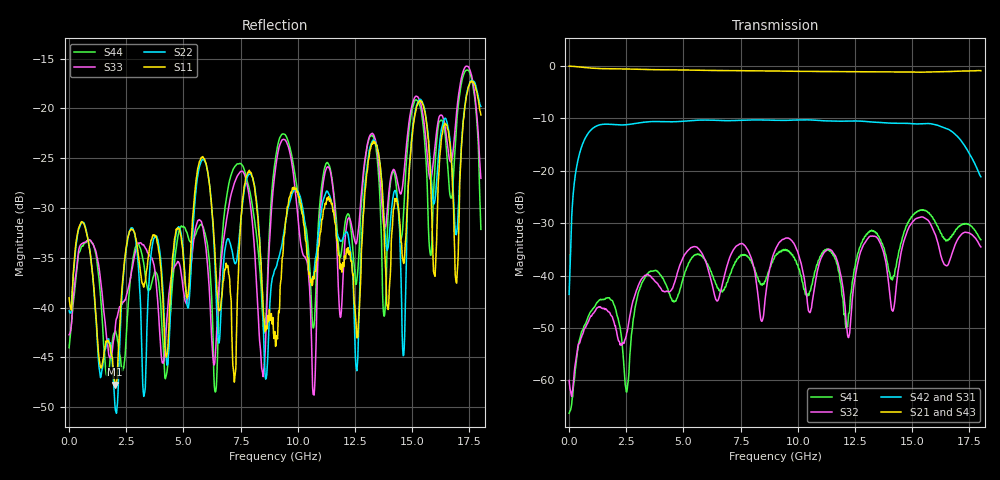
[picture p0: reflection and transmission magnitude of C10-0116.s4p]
! MARKI MICROWAVE INC.
! Email:  info@markimicrowave.com  Phone:  408-778-4200
! Model Number:  C10-0116  Date:  10/12
! Filename:		C10_0116.S4P  Version: 1.0
! Description:  4-port S-parameter data for Directional Coupler C10-0116
! Frequency Range: 	10 MHz to 18 GHz
! Port Configuration:	PORT 1: Input
!  PORT 2: Output
!  Port 3: Coupled
!  Port 4: Isolated
! S4P File: Measurements: Mag<S11> Ang<S11> Mag<S12> Ang<S12> Mag<S13> Ang<S13> Mag<S14> Ang<S14>! row 1
!  Mag<S21> Ang<S21> Mag<S22> Ang<S22> Mag<S23> Ang<S23> Mag<S24> Ang<S24>! row 2
!  Mag<S31> Ang<S31> Mag<S32> Ang<S32> Mag<S33> Ang<S33> Mag<S34> Ang<S34>! row 3
!  Mag<S41> Ang<S41> Mag<S42> Ang<S42> Mag<S43> Ang<S43> Mag<S44> Ang<S44>! row 4
# Hz S  dB  R 50
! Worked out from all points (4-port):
!   801 points, 10 MHz to 18 GHz, reference 50 ohm
!   strongest paths, dB at 10 MHz, 4.508 GHz, 9.005 GHz, 13.5 GHz, 18 GHz:
!     S21: 0.0, -0.7, -1.0, -1.1, -0.9
!     S43: 0.0, -0.7, -1.0, -1.1, -0.8
!     S42: -43.6, -10.6, -10.4, -10.8, -21.1
!     S31: -40.8, -10.7, -10.4, -10.8, -21.1
!     S32: -60.0, -42.5, -35.2, -33.0, -34.5
!     S41: -66.3, -44.8, -36.2, -32.4, -33.1
!   lowest |S11| = -47.7 dB at 2.011 GHz (marker M1), VSWR 1.01, Z = 50.2 - j0.348 ohm
!   |S11| at or under -10 dB: start of sweep to end of sweep
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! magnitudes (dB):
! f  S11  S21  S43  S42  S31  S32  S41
! 10 MHz  -39.0  0.0  0.0  -43.6  -40.8  -60.0  -66.3
! 504.7 MHz  -31.6  -0.2  -0.2  -16.1  -16.1  -52.3  -51.6
! 2.011 GHz  -47.7  -0.5  -0.5  -11.2  -11.2  -49.6  -46.0
! 5.834 GHz  -24.9  -0.8  -0.8  -10.3  -10.3  -35.9  -36.3
! 12.56 GHz  -41.9  -1.1  -1.1  -10.5  -10.5  -39.0  -37.0
! 13.23 GHz  -23.5  -1.1  -1.1  -10.7  -10.7  -32.5  -31.3
! 18 GHz  -20.7  -0.9  -0.8  -21.1  -21.1  -34.5  -33.1
